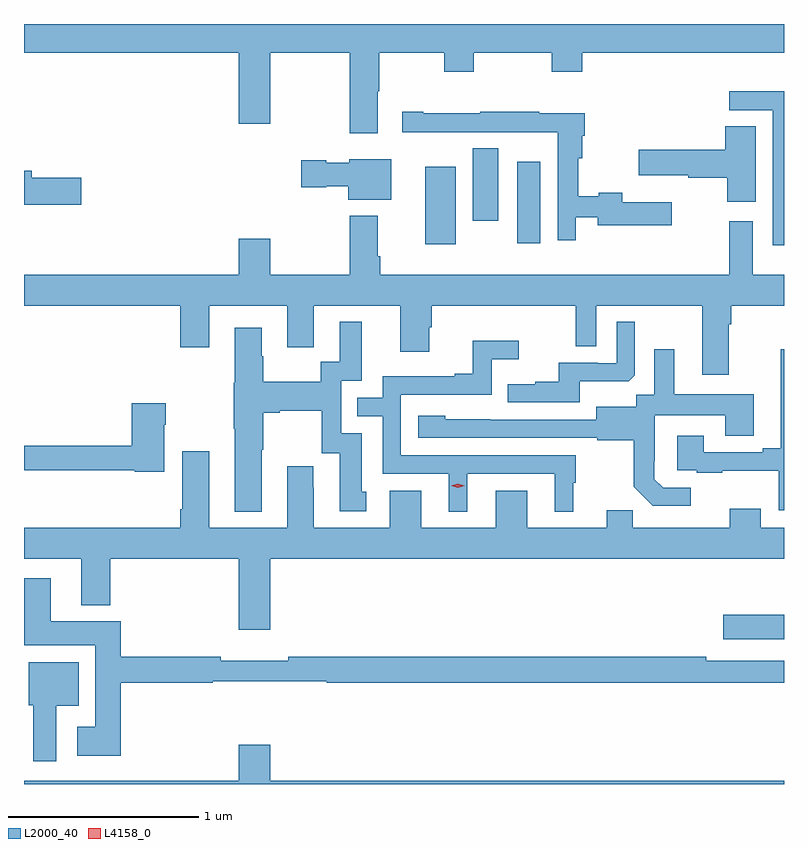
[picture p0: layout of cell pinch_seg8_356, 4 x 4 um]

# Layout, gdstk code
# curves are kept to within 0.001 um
import gdstk
lib = gdstk.Library(unit=1e-6, precision=1e-09)
def R(c, l, rs):  # rectangles x0, y0, x1, y1
    for r in rs: c.add(gdstk.rectangle(r[:2], r[2:], *l))
def P(c, l, *ps):  # polygons
    for p in ps: c.add(gdstk.Polygon(p, *l))
L2000_40 = (2000, 40)
L4158_0 = (4158, 0)

pinch_seg8_356 = lib.new_cell('pinch_seg8_356')
R(pinch_seg8_356, L2000_40, [(491.232,1118.741,491.553,1118.871), (489.665,1120.821,489.826,1121.227), (490.148,1120.824,490.27,1121.254), (489.914,1120.944,490.048,1121.324)])
P(pinch_seg8_356, L2000_40, [(489.415,1121.624),(489.423,1121.624),(489.423,1121.828),(489.766,1121.828),(489.766,1121.729),(489.921,1121.729),(489.921,1121.828),(490.33,1121.828),(490.33,1121.729),(490.49,1121.729),(490.49,1121.828),(491.553,1121.828),(491.553,1121.979),(487.553,1121.979),(487.553,1121.828),(488.684,1121.828),(488.684,1121.454),(488.848,1121.454),(488.848,1121.828),(489.268,1121.828),(489.268,1121.403),(489.415,1121.403)],
  [(491.553,1121.624),(491.265,1121.624),(491.265,1121.526),(491.493,1121.526),(491.493,1120.814),(491.553,1120.814)],
  [(490.458,1120.962),(490.574,1120.962),(490.574,1120.919),(490.963,1120.919),(490.963,1121.041),(490.702,1121.041),(490.702,1121.09),(490.578,1121.09),(490.578,1121.072),(490.471,1121.072),(490.471,1121.273),(490.492,1121.273),(490.492,1121.39),(490.505,1121.39),(490.505,1121.508),(490.265,1121.508),(490.265,1121.518),(489.955,1121.518),(489.955,1121.508),(489.655,1121.508),(489.655,1121.518),(489.543,1121.518),(489.543,1121.408),(489.818,1121.408),(489.818,1121.409),(490.152,1121.409),(490.152,1121.408),(490.362,1121.408),(490.362,1120.842),(490.458,1120.842)],
  [(491.404,1121.441),(491.243,1121.441),(491.243,1121.318),(490.788,1121.318),(490.788,1121.183),(491.05,1121.183),(491.05,1121.171),(491.255,1121.171),(491.255,1121.043),(491.404,1121.043)],
  [(489.487,1121.266),(489.264,1121.266),(489.264,1121.248),(489.144,1121.248),(489.144,1121.261),(489.012,1121.261),(489.012,1121.119),(489.144,1121.119),(489.144,1121.126),(489.26,1121.126),(489.26,1121.054),(489.487,1121.054)],
  [(487.855,1121.171),(487.594,1121.171),(487.594,1121.207),(487.553,1121.207),(487.553,1121.029),(487.855,1121.029)],
  [(491.276,1120.496),(491.553,1120.496),(491.553,1120.66),(491.389,1120.66),(491.389,1120.942),(491.264,1120.942),(491.264,1120.66),(489.428,1120.66),(489.428,1120.756),(489.415,1120.756),(489.415,1120.969),(489.268,1120.969),(489.268,1120.66),(488.848,1120.66),(488.848,1120.849),(488.684,1120.849),(488.684,1120.66),(487.553,1120.66),(487.553,1120.496),(488.375,1120.496),(488.375,1120.278),(488.527,1120.278),(488.527,1120.496),(488.939,1120.496),(488.939,1120.278),(489.079,1120.278),(489.079,1120.496),(489.533,1120.496),(489.533,1120.254),(489.685,1120.254),(489.685,1120.383),(489.698,1120.383),(489.698,1120.496),(490.458,1120.496),(490.458,1120.282),(490.566,1120.282),(490.566,1120.496),(491.123,1120.496),(491.123,1120.134),(491.263,1120.134),(491.263,1120.4),(491.276,1120.4)],
  [(488.803,1119.739),(488.811,1119.739),(488.811,1119.932),(488.899,1119.932),(488.899,1119.944),(489.119,1119.944),(489.119,1119.72),(489.215,1119.72),(489.215,1119.414),(489.355,1119.414),(489.355,1119.516),(489.331,1119.516),(489.331,1119.825),(489.222,1119.825),(489.222,1120.101),(489.331,1120.101),(489.331,1120.411),(489.215,1120.411),(489.215,1120.202),(489.114,1120.202),(489.114,1120.096),(488.811,1120.096),(488.811,1120.23),(488.803,1120.23),(488.803,1120.381),(488.663,1120.381),(488.663,1120.092),(488.656,1120.092),(488.656,1119.848),(488.663,1119.848),(488.663,1119.413),(488.803,1119.413)],
  [(490.477,1120.1),(490.735,1120.1),(490.767,1120.131),(490.767,1120.411),(490.674,1120.411),(490.674,1120.194),(490.574,1120.194),(490.574,1120.197),(490.367,1120.197),(490.367,1120.096),(490.243,1120.096),(490.243,1120.084),(490.099,1120.084),(490.099,1119.987),(490.477,1119.987)],
  [(489.886,1119.612),(490.346,1119.612),(490.346,1119.413),(490.444,1119.413),(490.444,1119.564),(490.456,1119.564),(490.456,1119.708),(489.537,1119.708),(489.537,1120.029),(490.014,1120.029),(490.014,1120.214),(490.156,1120.214),(490.156,1120.313),(489.916,1120.313),(489.916,1120.138),(489.821,1120.138),(489.821,1120.125),(489.441,1120.125),(489.441,1120.011),(489.307,1120.011),(489.307,1119.915),(489.441,1119.915),(489.441,1119.612),(489.788,1119.612),(489.788,1119.413),(489.886,1119.413)],
  [(491.062,1119.537),(490.917,1119.537),(490.87,1119.584),(490.87,1119.679),(490.872,1119.679),(490.872,1119.92),(491.243,1119.92),(491.243,1119.811),(491.395,1119.811),(491.395,1120.03),(490.975,1120.03),(490.975,1120.267),(490.871,1120.267),(490.871,1120.028),(490.776,1120.028),(490.776,1119.964),(490.565,1119.964),(490.565,1119.897),(489.771,1119.898),(489.771,1119.916),(489.627,1119.916),(489.627,1119.801),(490.569,1119.801),(490.569,1119.789),(490.761,1119.789),(490.761,1119.543),(490.861,1119.443),(491.062,1119.443)],
  [(491.553,1120.267),(491.537,1120.267),(491.537,1119.745),(491.441,1119.745),(491.441,1119.726),(491.131,1119.726),(491.131,1119.811),(490.991,1119.811),(490.991,1119.63),(491.095,1119.63),(491.095,1119.618),(491.227,1119.618),(491.227,1119.629),(491.526,1119.629),(491.526,1119.42),(491.553,1119.42)],
  [(488.29,1119.869),(488.298,1119.869),(488.298,1119.982),(488.12,1119.982),(488.12,1119.758),(487.553,1119.758),(487.553,1119.63),(488.136,1119.63),(488.136,1119.622),(488.29,1119.622)],
  [(488.848,1119.164),(491.553,1119.164),(491.553,1119.328),(491.431,1119.328),(491.431,1119.427),(491.267,1119.427),(491.267,1119.328),(490.757,1119.328),(490.757,1119.419),(490.619,1119.419),(490.619,1119.328),(490.201,1119.328),(490.201,1119.523),(490.037,1119.523),(490.037,1119.328),(489.643,1119.328),(489.643,1119.523),(489.479,1119.523),(489.479,1119.328),(489.079,1119.328),(489.079,1119.539),(489.076,1119.539),(489.076,1119.652),(488.939,1119.652),(488.939,1119.328),(488.527,1119.328),(488.527,1119.73),(488.387,1119.73),(488.387,1119.424),(488.375,1119.424),(488.375,1119.328),(487.553,1119.328),(487.553,1119.164),(487.853,1119.164),(487.853,1118.921),(488.006,1118.921),(488.006,1119.164),(488.684,1119.164),(488.684,1118.79),(488.848,1118.79)],
  [(488.063,1118.512),(488.546,1118.512),(488.546,1118.52),(489.146,1118.52),(489.146,1118.512),(491.553,1118.512),(491.553,1118.628),(491.144,1118.628),(491.144,1118.648),(488.944,1118.648),(488.944,1118.629),(488.588,1118.629),(488.588,1118.648),(488.063,1118.648),(488.063,1118.836),(487.693,1118.836),(487.693,1119.061),(487.553,1119.061),(487.553,1118.708),(487.928,1118.708),(487.928,1118.281),(487.833,1118.281),(487.833,1118.129),(488.063,1118.129)],
  [(487.723,1118.39),(487.84,1118.39),(487.84,1118.62),(487.577,1118.62),(487.577,1118.394),(487.601,1118.394),(487.601,1118.1),(487.723,1118.1)],
  [(491.553,1117.996),(488.848,1117.996),(488.848,1118.185),(488.684,1118.185),(488.684,1117.996),(487.553,1117.996),(487.553,1117.979),(491.553,1117.979)])
P(pinch_seg8_356, L4158_0, [(489.837,1119.538),(489.802,1119.548),(489.802,1119.548),(489.802,1119.548),(489.837,1119.558),(489.872,1119.548),(489.872,1119.548),(489.872,1119.548)])

lib.write_gds('pinch_seg8_356.gds')
